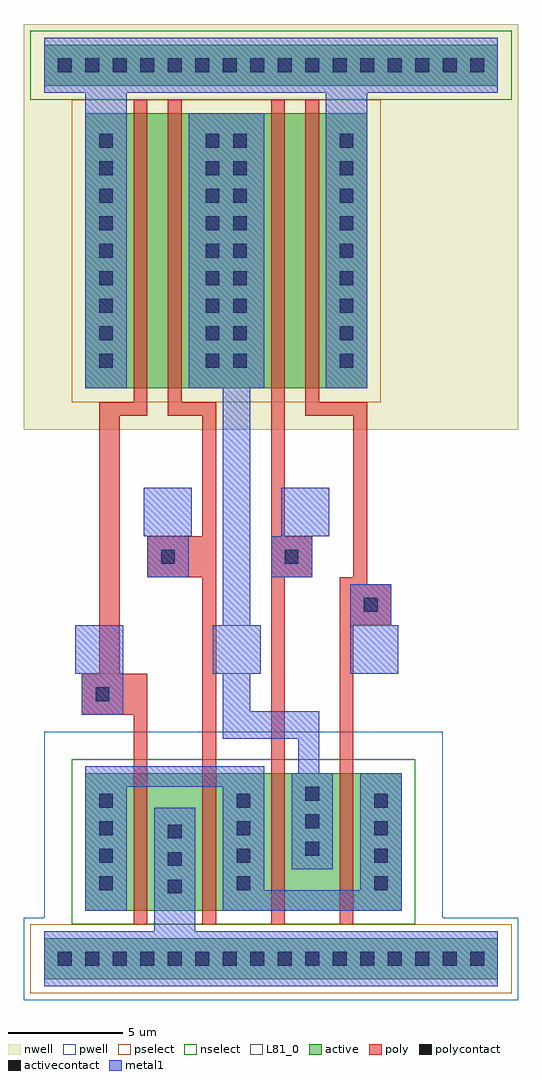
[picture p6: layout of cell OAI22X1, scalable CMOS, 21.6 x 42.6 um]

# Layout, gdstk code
import gdstk
lib = gdstk.Library(unit=1e-6, precision=1e-09)
def R(c, l, rs):  # rectangles x0, y0, x1, y1
    for r in rs: c.add(gdstk.rectangle(r[:2], r[2:], *l))
def A(c, l, x, y, w, h, nx, ny, dx, dy):  # array of equal rectangles
    R(c, l, [(x+i*dx, y+j*dy, x+i*dx+w, y+j*dy+h) for i in range(nx) for j in range(ny)])
pwell = (41, 0)
nwell = (42, 0)
active = (43, 0)
pselect = (44, 0)
nselect = (45, 0)
poly = (46, 0)
polycontact = (47, 0)
activecontact = (48, 0)
metal1 = (49, 0)
L81_0 = (81, 0)

oai22x1 = lib.new_cell('OAI22X1')
R(oai22x1, pwell, [(-1.8,-1.8,19.8,1.8), (-0.9,1.8,16.5,9.9)])
R(oai22x1, nwell, [(-1.8,23.1,19.8,40.8)])
R(oai22x1, active, [(-0.9,-0.9,18.9,0.9), (0.9,2.1,14.7,8.1), (0.9,24.9,13.2,36.9), (-0.9,38.1,18.9,39.9)])
R(oai22x1, pselect, [(-1.5,-1.5,19.5,1.5), (0.3,24.3,13.8,37.5)])
R(oai22x1, nselect, [(0.3,1.5,15.3,8.7), (-1.5,37.5,19.5,40.5)])
R(oai22x1, poly, [(3,1.5,3.6,10.65), (6,1.5,6.6,16.65), (9,1.5,9.6,16.65), (12,1.5,12.6,14.55), (0.75,10.65,3.6,12.45), (1.5,12.45,2.4,23.7), (12,14.55,14.25,16.35), (12,16.35,13.2,16.65), (3.6,16.65,6.6,18.45), (9,16.65,10.8,18.45), (12.6,16.65,13.2,23.7), (6,18.45,6.6,23.7), (9,18.45,9.6,37.5), (1.5,23.7,3.6,24.3), (4.5,23.7,6.6,24.3), (10.5,23.7,13.2,24.3), (3,24.3,3.6,37.5), (4.5,24.3,5.1,37.5), (10.5,24.3,11.1,37.5)])
R(oai22x1, polycontact, [(1.35,11.25,1.95,11.85), (13.05,15.15,13.65,15.75), (4.2,17.25,4.8,17.85), (9.6,17.25,10.2,17.85)])
A(oai22x1, activecontact, -0.3, -0.3, 0.6, 0.6, 16, 2, 1.2, 39)
A(oai22x1, activecontact, 4.5, 2.85, 0.6, 0.6, 1, 3, 0, 1.2)
A(oai22x1, activecontact, 1.5, 3, 0.6, 0.6, 3, 4, 6, 1.2)
A(oai22x1, activecontact, 10.5, 4.5, 0.6, 0.6, 1, 3, 0, 1.2)
A(oai22x1, activecontact, 1.5, 25.8, 0.6, 0.6, 1, 9, 0, 1.2)
A(oai22x1, activecontact, 6.15, 25.8, 0.6, 0.6, 1, 9, 0, 1.2)
A(oai22x1, activecontact, 7.35, 25.8, 0.6, 0.6, 1, 9, 0, 1.2)
A(oai22x1, activecontact, 12, 25.8, 0.6, 0.6, 1, 9, 0, 1.2)
A(oai22x1, metal1, 0.45, 12.45, 2.1, 2.1, 3, 1, 6, 0)
R(oai22x1, metal1, [(-0.9,-1.2,18.9,1.2), (3.9,1.2,5.7,6.6), (0.9,2.1,2.7,7.5), (6.9,2.1,14.7,3), (6.9,3,8.7,7.5), (12.9,3,14.7,8.1), (9.9,3.9,11.7,8.1), (0.9,7.5,8.7,8.4), (10.2,8.1,11.1,9.6), (6.9,9.6,11.1,10.8), (0.75,10.65,2.55,12.45), (6.9,10.8,8.1,12.45), (6.9,14.55,8.1,24.9), (12.45,14.55,14.25,16.35), (3.6,16.65,5.4,18.45), (9,16.65,10.8,18.45), (3.45,18.45,5.55,20.55), (9.45,18.45,11.55,20.55), (0.9,24.9,2.7,37.8), (5.4,24.9,8.7,36.9), (11.4,24.9,13.2,37.8), (-0.9,37.8,18.9,40.2)])
A(oai22x1, L81_0, 0.45, 12.45, 2.1, 2.1, 3, 1, 6, 0)
R(oai22x1, L81_0, [(3.45,18.45,5.55,20.55), (9.45,18.45,11.55,20.55)])

lib.write_gds('OAI22X1.gds')
